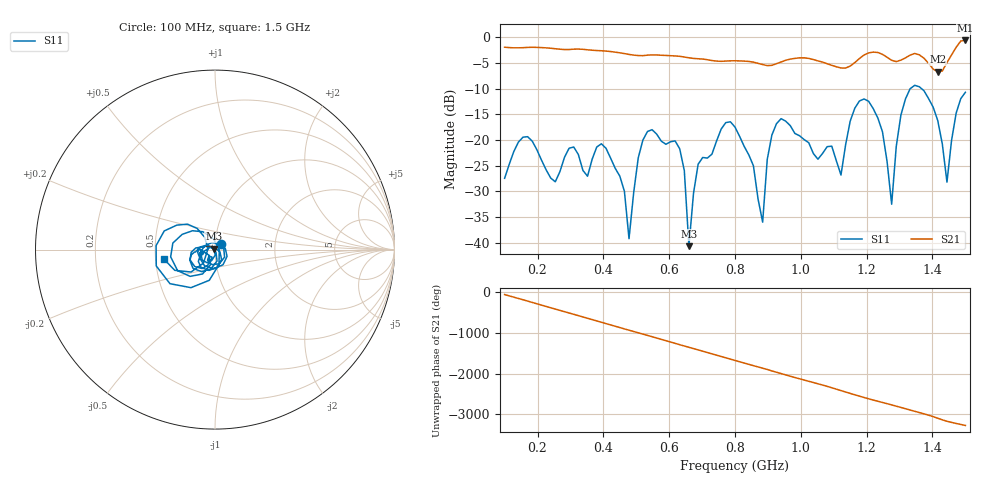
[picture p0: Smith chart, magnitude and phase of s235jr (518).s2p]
! NanoVNA-App
! Date: 2025-09-25 15:08:11
! Start: 100MHz Stop: 1,5GHz Points: 101
! S-Parameter data: F S11 S21 S12 S22
# Hz S RI R 50
!  Frequency  S11_Real  S11_Imag  S21_Real  S21_Imag  S12_Real  S12_Imag  S22_Real  S22_Imag
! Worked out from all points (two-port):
!   101 points, 100 MHz to 1.5 GHz, reference 50 ohm
!   highest |S21| = -0.65 dB at 1.5 GHz (marker M1); lowest = -6.7 dB at 1.416 GHz (marker M2)
!   |S21| within 3 dB of the highest: start of sweep to 614 MHz; 1.189 GHz to 1.255 GHz (66.83 MHz wide, 5.47 % of centre) (the widest 2 of 4)
!   lowest |S11| = -40.7 dB at 660 MHz (marker M3), VSWR 1.02, Z = 49.2 + j0.531 ohm
!   |S11| at or under -10 dB: start of sweep to 1.333 GHz; 1.366 GHz to end of sweep
!   S12 and S22 are empty: the file has one direction only
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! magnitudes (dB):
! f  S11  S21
! 100 MHz  -27.5  -2.0
! 170 MHz  -19.4  -2.0
! 338 MHz  -25.9  -2.4
! 408 MHz  -21.6  -2.7
! 478 MHz  -39.2  -3.4
! 520 MHz  -20.1  -3.6
! 576 MHz  -20.2  -3.5
! 632 MHz  -21.7  -3.7
! 660 MHz  -40.7  -4.0
! 688 MHz  -24.7  -4.2
! 800 MHz  -17.5  -4.6
! 884 MHz  -36.0  -5.3
! 926 MHz  -16.8  -5.2
! 1.038 GHz  -22.6  -4.4
! 1.122 GHz  -26.8  -6.0
! 1.206 GHz  -12.5  -3.1
! 1.248 GHz  -18.4  -3.3
! 1.276 GHz  -32.5  -4.5
! 1.332 GHz  -10.0  -3.5
! 1.416 GHz  -16.2  -6.7
! 1.444 GHz  -28.2  -5.0
! 1.5 GHz  -10.7  -0.7
